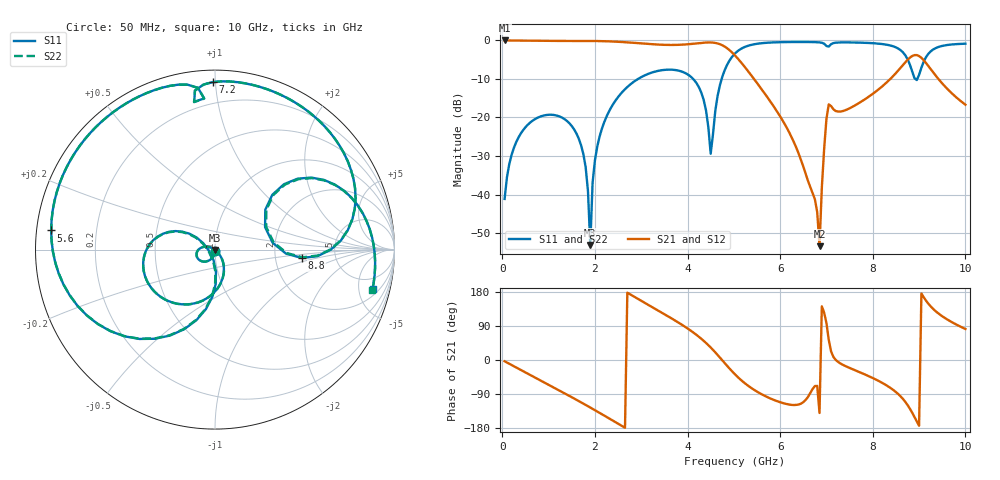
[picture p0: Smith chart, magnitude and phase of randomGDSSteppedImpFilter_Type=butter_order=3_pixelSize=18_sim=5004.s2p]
! freq	dB(S11)	phase(S11)	dB(S12)	phase(S12)
!  dB(S21)	phase(S21)	dB(S22)	phase(S22)
!S-par simulation data
#  GHz  S  DB  R 50
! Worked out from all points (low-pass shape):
!   200 points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, 50 MHz to 10 GHz, reference 50 ohm
!   highest |S21| = -0.02 dB at 50 MHz (marker M1); lowest = -53.4 dB at 6.85 GHz (marker M2)
!   |S21| within 3 dB of the highest: start of sweep to 4.952 GHz
!   lowest |S11| = -53.1 dB at 1.9 GHz (marker M3), VSWR 1.00, Z = 50 - j0.221 ohm
!   |S11| at or under -10 dB: start of sweep to 2.933 GHz; 4.12 GHz to 4.738 GHz (617.8 MHz wide, 14 % of centre); 8.920604 GHz to 8.960775 GHz (40.17 MHz wide, 0.449 % of centre)
!   |S22| runs from -54.6 to -0.4 dB; largest |S21 - S12| = 0
!   S11 on the Smith chart (normalised r, x): 50 MHz: 1.00, -0.02; 5.6 GHz: 0.04, +0.06; 7.2 GHz: 0.07, +0.98; 8.8 GHz: 2.85, -0.35; 10 GHz: 2.84, -6.93
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0.05  -41.14 -80.0  -0.02 -3.3  -0.02 -3.3  -41.14 -80.0
0.25  -27.90 -103.9  -0.05 -16.4  -0.05 -16.4  -27.90 -103.9
0.7  -20.47 -135.6  -0.11 -45.7  -0.11 -45.7  -20.47 -135.7
1.75  -29.47 156.4  -0.15 -115.1  -0.15 -115.1  -29.48 155.5
1.85  -39.08 154.7  -0.15 -122.0  -0.15 -122.0  -39.14 151.6
1.9  -53.08 -84.7  -0.15 -125.4  -0.15 -125.4  -54.58 -69.9
2  -31.15 -46.4  -0.17 -132.4  -0.17 -132.4  -31.15 -44.9
2.2  -21.25 -58.4  -0.21 -146.5  -0.21 -146.5  -21.25 -57.9
3.4  -7.82 -142.2  -1.11 128.0  -1.11 128.0  -7.82 -142.0
4.2  -11.21 158.9  -0.78 65.7  -0.78 65.7  -11.20 159.5
4.5  -29.41 -166.9  -0.54 33.1  -0.54 33.1  -28.67 -165.3
4.7  -11.59 -93.2  -1.00 6.4  -1.00 6.4  -11.57 -93.9
5.05  -3.12 -136.2  -4.23 -40.9  -4.23 -40.9  -3.11 -136.5
5.6  -0.73 173.3  -12.68 -90.4  -12.68 -90.4  -0.73 173.3
6.7  -0.44 110.9  -39.53 -76.8  -39.53 -76.8  -0.44 110.9
6.85  -0.52 102.6  -53.40 -139.7  -53.40 -139.7  -0.52 102.5
7  -1.47 94.1  -20.30 97.2  -20.30 97.2  -1.48 94.1
7.2  -0.60 90.8  -18.33 0.1  -18.33 0.1  -0.60 90.8
8.35  -1.24 27.1  -10.35 -71.1  -10.35 -71.1  -1.24 27.2
8.8  -6.25 -5.5  -4.50 -128.2  -4.50 -128.2  -6.19 -5.0
9.2  -3.48 36.8  -6.66 148.6  -6.66 148.6  -3.47 36.4
10  -0.87 -14.1  -16.69 81.8  -16.69 81.8  -0.87 -14.3
